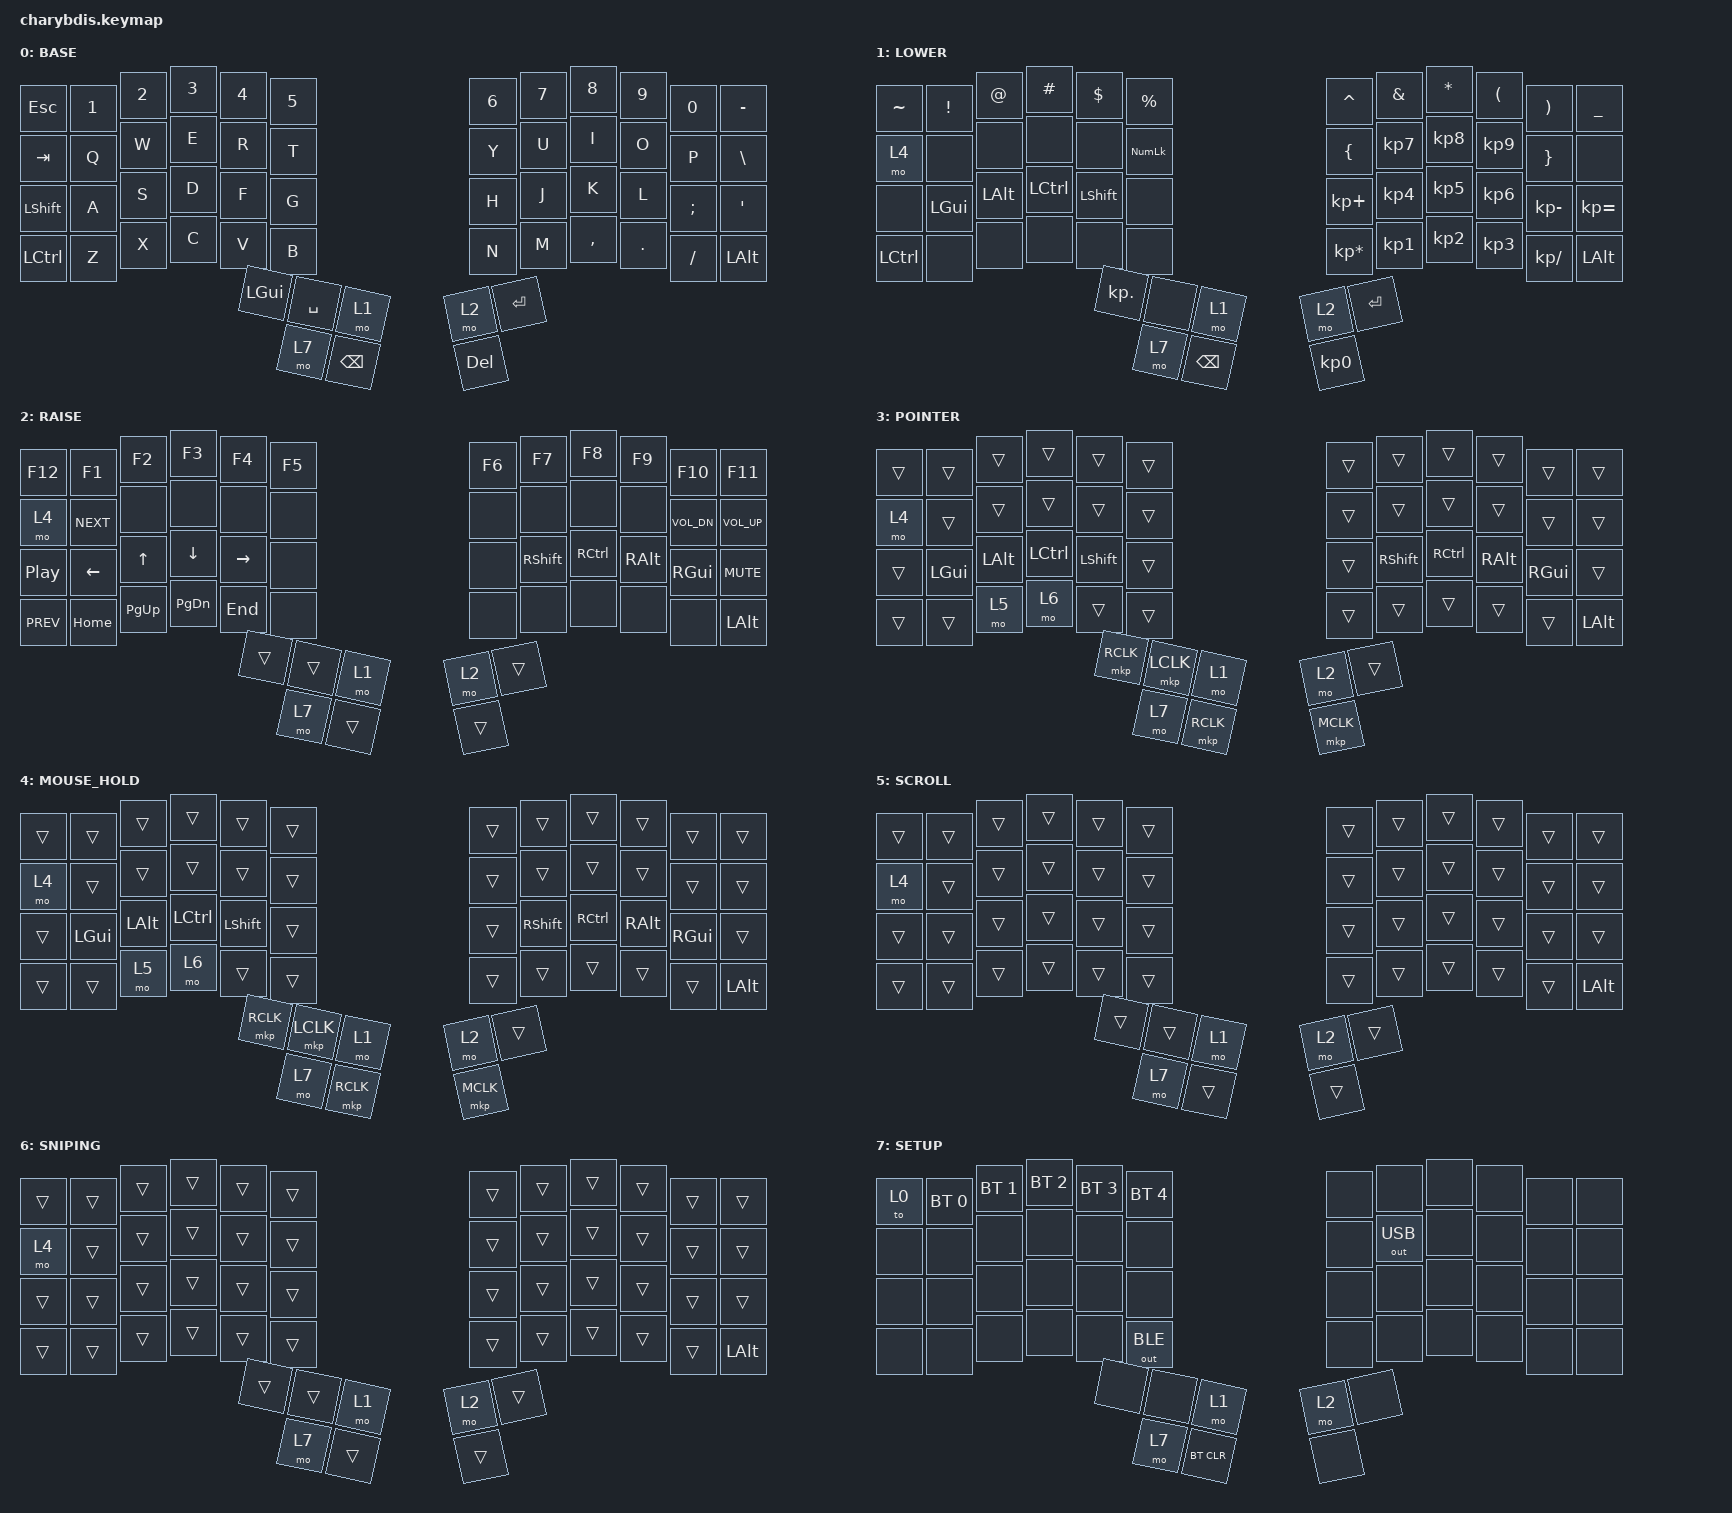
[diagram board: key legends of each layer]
/*
 * QWERTY adaptation of BastardKB Charybdis 4x6 vendor keymap.
 * Original layout: Copyright 2021 Charly Delay <charly@codesink.dev>.
 * SPDX-License-Identifier: GPL-2.0-or-later
 * https://github.com/Bastardkb/qmk_userspace/tree/main/keyboards/bastardkb/charybdis/4x6/keymaps/vendor
 * See KEYMAP.md for intentional ZMK/Bluetooth adaptations.
 */
#include <behaviors/mouse_keys.dtsi>
#include <behaviors.dtsi>
#include <dt-bindings/zmk/bt.h>
#include <dt-bindings/zmk/outputs.h>
#include <dt-bindings/zmk/keys.h>
#include <dt-bindings/zmk/mouse.h>
#include <dt-bindings/zmk/pointing.h>
#include <dt-bindings/zmk/input_transform.h>
#include <input/processors.dtsi>

// 0 BASE, 1 LOWER, 2 RAISE, 3 POINTER, 4 MOUSE_HOLD, 5 SCROLL, 6 SNIPING, 7 SETUP.
// No letter hold-taps, toggle layers, gaming combo, RGB or external-power controls.
/ {
    trackball_listener {
        compatible = "zmk,input-listener";
        device = <&vtrackball>;
        input-processors = <&zip_xy_scaler 9 10>,
                           <&zip_xy_transform (INPUT_TRANSFORM_X_INVERT | INPUT_TRANSFORM_Y_INVERT)>,
                           <&zip_temp_layer 3 700>;
        scroller {
            layers = <5>;
            input-processors = <&zip_x_scaler 0 1>,
                               <&zip_xy_scaler 1 14>,
                               <&zip_xy_to_scroll_mapper>;
        };
        sniper {
            layers = <6>;
            input-processors = <&zip_xy_scaler 3 10>,
                               <&zip_xy_transform (INPUT_TRANSFORM_X_INVERT | INPUT_TRANSFORM_Y_INVERT)>;
        };
    };
    keymap {
        compatible = "zmk,keymap";
        default_layer {
            label = "BASE";
            bindings = <
                &kp ESCAPE  &kp N1  &kp N2  &kp N3  &kp N4  &kp N5  &kp N6  &kp N7  &kp N8  &kp N9  &kp N0  &kp MINUS
                &kp TAB  &kp Q  &kp W  &kp E  &kp R  &kp T  &kp Y  &kp U  &kp I  &kp O  &kp P  &kp BSLH
                &kp LSHFT  &kp A  &kp S  &kp D  &kp F  &kp G  &kp H  &kp J  &kp K  &kp L  &kp SEMI  &kp SQT
                &kp LCTRL  &kp Z  &kp X  &kp C  &kp V  &kp B  &kp N  &kp M  &kp COMMA  &kp DOT  &kp FSLH  &kp LALT
                &kp LGUI  &kp SPACE  &mo 1  &mo 2  &kp RET
                &mo 7  &kp BSPC  &kp DEL
            >;
        };
        lower_layer {
            label = "LOWER";
            bindings = <
                &kp TILDE  &kp EXCL  &kp AT  &kp HASH  &kp DLLR  &kp PRCNT  &kp CARET  &kp AMPS  &kp ASTRK  &kp LPAR  &kp RPAR  &kp UNDER
                &mo 4  &none  &none  &none  &none  &kp KP_NUMLOCK  &kp LBRC  &kp KP_N7  &kp KP_N8  &kp KP_N9  &kp RBRC  &none
                &none  &kp LGUI  &kp LALT  &kp LCTRL  &kp LSHFT  &none  &kp KP_PLUS  &kp KP_N4  &kp KP_N5  &kp KP_N6  &kp KP_MINUS  &kp KP_EQUAL
                &kp LCTRL  &none  &none  &none  &none  &none  &kp KP_MULTIPLY  &kp KP_N1  &kp KP_N2  &kp KP_N3  &kp KP_DIVIDE  &kp LALT
                &kp KP_DOT  &none  &mo 1  &mo 2  &kp RET
                &mo 7  &kp BSPC  &kp KP_N0
            >;
        };
        raise_layer {
            label = "RAISE";
            bindings = <
                &kp F12  &kp F1  &kp F2  &kp F3  &kp F4  &kp F5  &kp F6  &kp F7  &kp F8  &kp F9  &kp F10  &kp F11
                &mo 4  &kp C_NEXT  &none  &none  &none  &none  &none  &none  &none  &none  &kp C_VOL_DN  &kp C_VOL_UP
                &kp C_PP  &kp LEFT  &kp UP  &kp DOWN  &kp RIGHT  &none  &none  &kp RSHFT  &kp RCTRL  &kp RALT  &kp RGUI  &kp C_MUTE
                &kp C_PREV  &kp HOME  &kp PG_UP  &kp PG_DN  &kp END  &none  &none  &none  &none  &none  &none  &kp LALT
                &trans  &trans  &mo 1  &mo 2  &trans
                &mo 7  &trans  &trans
            >;
        };
        pointer_layer {
            label = "POINTER";
            bindings = <
                &trans  &trans  &trans  &trans  &trans  &trans  &trans  &trans  &trans  &trans  &trans  &trans
                &mo 4  &trans  &trans  &trans  &trans  &trans  &trans  &trans  &trans  &trans  &trans  &trans
                &trans  &kp LGUI  &kp LALT  &kp LCTRL  &kp LSHFT  &trans  &trans  &kp RSHFT  &kp RCTRL  &kp RALT  &kp RGUI  &trans
                &trans  &trans  &mo 5  &mo 6  &trans  &trans  &trans  &trans  &trans  &trans  &trans  &kp LALT
                &mkp RCLK  &mkp LCLK  &mo 1  &mo 2  &trans
                &mo 7  &mkp RCLK  &mkp MCLK
            >;
        };
        mouse_hold_layer {
            label = "MOUSE_HOLD";
            bindings = <
                &trans  &trans  &trans  &trans  &trans  &trans  &trans  &trans  &trans  &trans  &trans  &trans
                &mo 4  &trans  &trans  &trans  &trans  &trans  &trans  &trans  &trans  &trans  &trans  &trans
                &trans  &kp LGUI  &kp LALT  &kp LCTRL  &kp LSHFT  &trans  &trans  &kp RSHFT  &kp RCTRL  &kp RALT  &kp RGUI  &trans
                &trans  &trans  &mo 5  &mo 6  &trans  &trans  &trans  &trans  &trans  &trans  &trans  &kp LALT
                &mkp RCLK  &mkp LCLK  &mo 1  &mo 2  &trans
                &mo 7  &mkp RCLK  &mkp MCLK
            >;
        };
        scroll_layer {
            label = "SCROLL";
            bindings = <
                &trans  &trans  &trans  &trans  &trans  &trans  &trans  &trans  &trans  &trans  &trans  &trans
                &mo 4  &trans  &trans  &trans  &trans  &trans  &trans  &trans  &trans  &trans  &trans  &trans
                &trans  &trans  &trans  &trans  &trans  &trans  &trans  &trans  &trans  &trans  &trans  &trans
                &trans  &trans  &trans  &trans  &trans  &trans  &trans  &trans  &trans  &trans  &trans  &kp LALT
                &trans  &trans  &mo 1  &mo 2  &trans
                &mo 7  &trans  &trans
            >;
        };
        sniping_layer {
            label = "SNIPING";
            bindings = <
                &trans  &trans  &trans  &trans  &trans  &trans  &trans  &trans  &trans  &trans  &trans  &trans
                &mo 4  &trans  &trans  &trans  &trans  &trans  &trans  &trans  &trans  &trans  &trans  &trans
                &trans  &trans  &trans  &trans  &trans  &trans  &trans  &trans  &trans  &trans  &trans  &trans
                &trans  &trans  &trans  &trans  &trans  &trans  &trans  &trans  &trans  &trans  &trans  &kp LALT
                &trans  &trans  &mo 1  &mo 2  &trans
                &mo 7  &trans  &trans
            >;
        };
        setup_layer {
            label = "SETUP";
            bindings = <
                &to 0  &bt BT_SEL 0  &bt BT_SEL 1  &bt BT_SEL 2  &bt BT_SEL 3  &bt BT_SEL 4  &none  &none  &none  &none  &none  &none
                &none  &none  &none  &none  &none  &none  &none  &out OUT_USB  &none  &none  &none  &none
                &none  &none  &none  &none  &none  &none  &none  &none  &none  &none  &none  &none
                &none  &none  &none  &none  &none  &out OUT_BLE  &none  &none  &none  &none  &none  &none
                &none  &none  &mo 1  &mo 2  &none
                &mo 7  &bt BT_CLR  &none
            >;
        };
    };
};
&zip_temp_layer {
    require-prior-idle-ms = <250>;
    // Mouse actions remain on POINTER; ordinary typing exits the automatic layer.
    // Manual mouse access uses a separate layer so the auto timer cannot clear it.
    excluded-positions = <12 25 26 27 28 31 32 33 34 38 39 44 45 47 48 49 54 55>;
};
